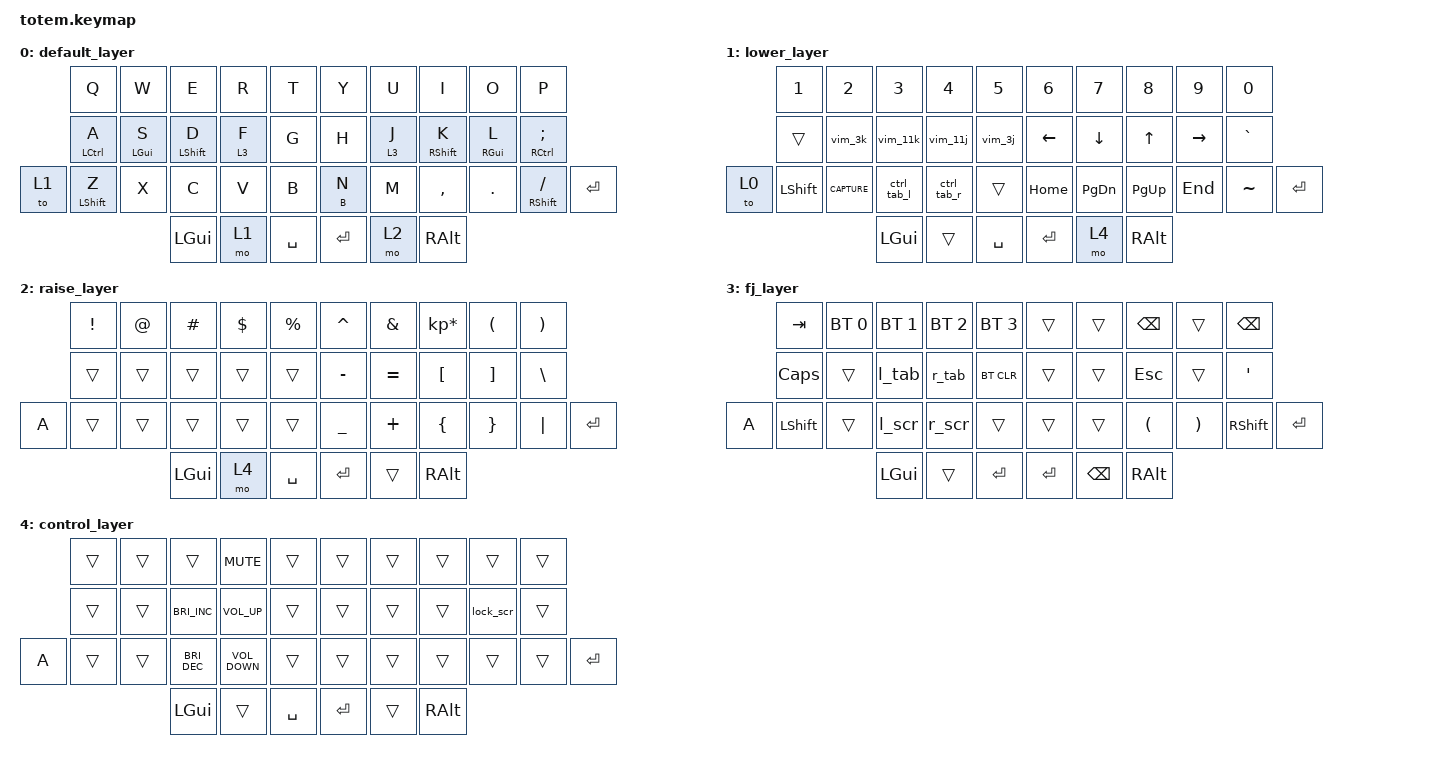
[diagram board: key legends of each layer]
//
//                                                        ▀▀▀▀▀     ▀▀▀▀▀          ▀▀█▀▀
//                                                        ▄▀▀▀▄  ▄  ▄▀▀▀▄  ▄  ▄▀▀▀▄  █  ▄▀▀▀▄
//                                                        █   █  █  █   █  █  █   █  █  █   █
//                                                         ▀▀▀   █   ▀▀▀   █   ▀▀▀   ▀   ▀▀▀
//                                                               █      ▄▄▄█▄▄▄    █   █  
//                                                               ▀      █  █  █     █▄█
//                                                             ▀▀▀▀▀    █  █  █      ▀
//                                                                      ▀  ▀  ▀
//
// ▄▄▄▄▄▄▄▄▄▄▄▄▄▄▄▄▄▄▄▄▄▄▄▄▄▄▄▄▄▄▄▄▄▄▄▄▄▄▄▄▄▄▄▄▄▄▄▄▄▄▄▄▄▄▄▄▄▄▄▄▄▄▄▄▄▄▄▄▄▄▄▄▄▄▄▄▄▄▄▄▄▄▄▄▄▄▄▄▄▄▄▄▄▄▄▄▄▄▄▄▄▄▄▄▄▄▄▄▄▄▄▄▄▄▄▄▄▄▄▄▄▄▄▄▄▄▄▄▄▄▄▄▄▄▄▄▄▄▄▄▄▄▄▄▄▄▄▄▄

#include <behaviors.dtsi>
#include <dt-bindings/zmk/bt.h>
#include <dt-bindings/zmk/keys.h>

&mt { flavor = "tap-preferred"; };

/ {
    macros {
        CAPTURE: CAPTURE {
            compatible = "zmk,behavior-macro";
            #binding-cells = <0>;
            bindings =
                <&macro_press>,
                <&kp LCTRL &kp LGUI &kp LSHFT>,
                <&macro_tap>,
                <&kp N4>,
                <&macro_release>,
                <&kp LCTRL &kp LGUI &kp LSHFT>;
        };

        vim_11j: vim_11j {
            compatible = "zmk,behavior-macro";
            #binding-cells = <0>;
            bindings = <&macro_tap>, <&kp N1 &kp N1 &kp J>;
        };

        vim_11k: vim_11k {
            compatible = "zmk,behavior-macro";
            #binding-cells = <0>;
            bindings = <&macro_tap>, <&kp N1 &kp N1 &kp K>;
        };

        vim_3j: vim_3j {
            compatible = "zmk,behavior-macro";
            #binding-cells = <0>;
            bindings = <&macro_tap>, <&kp N3 &kp J>;
        };

        vim_3k: vim_3k {
            compatible = "zmk,behavior-macro";
            #binding-cells = <0>;
            bindings = <&macro_tap>, <&kp N3 &kp K>;
        };

        ctrl_tab_l: ctrl_tab_l {
            compatible = "zmk,behavior-macro";
            #binding-cells = <0>;
            bindings =
                <&macro_press>,
                <&kp LSHFT &kp LCTRL>,
                <&macro_tap>,
                <&kp TAB>,
                <&macro_release>,
                <&kp LSHFT &kp LCTRL>;
        };

        ctrl_tab_r: ctrl_tab_r {
            compatible = "zmk,behavior-macro";
            #binding-cells = <0>;
            bindings =
                <&macro_press>,
                <&kp LCTRL>,
                <&macro_tap>,
                <&kp TAB>,
                <&macro_release>,
                <&kp LCTRL>;
        };

        lock_scr: lock_scr {
            compatible = "zmk,behavior-macro";
            #binding-cells = <0>;
            bindings =
                <&macro_press>,
                <&kp LCTRL &kp LGUI>,
                <&macro_tap>,
                <&kp Q>,
                <&macro_release>,
                <&kp LCTRL &kp LGUI>;
        };

        l_tab: l_tab {
            compatible = "zmk,behavior-macro";
            #binding-cells = <0>;
            bindings =
                <&macro_press>,
                <&kp LSHFT &kp LGUI>,
                <&macro_tap>,
                <&kp LBKT>,
                <&macro_release>,
                <&kp LSHFT &kp LGUI>;
        };

        r_tab: r_tab {
            compatible = "zmk,behavior-macro";
            #binding-cells = <0>;
            bindings =
                <&macro_press>,
                <&kp LSHFT &kp LGUI>,
                <&macro_tap>,
                <&kp RBKT>,
                <&macro_release>,
                <&kp LSHFT &kp LGUI>;
        };

        l_scr: l_scr {
            compatible = "zmk,behavior-macro";
            #binding-cells = <0>;
            bindings =
                <&macro_press>,
                <&kp LCTRL>,
                <&macro_tap>,
                <&kp LEFT>,
                <&macro_release>,
                <&kp LCTRL>;
        };

        r_scr: r_scr {
            compatible = "zmk,behavior-macro";
            #binding-cells = <0>;
            bindings =
                <&macro_press>,
                <&kp LCTRL>,
                <&macro_tap>,
                <&kp RIGHT>,
                <&macro_release>,
                <&kp LCTRL>;
        };
    };

    keymap {
        compatible = "zmk,keymap";

        default_layer {
            // -----------------------------------------------------------------------------------------
            // |  Q         |  W  |  E         |  R      |  T  |   |  Y       |  U      |  I         |  O  |  P           |
            // | &mt CTRL A |  S  | &mt SHFT D | &lt 3 F |  G  |   |  H       | &lt 3 J | &mt SHFT K |  L  |  ;           |
            // | &mt SHFT Z |  X  |  C         |  V      |  B  |   | &mt B N  | &mt M M      |  ,         |  .  | &mt RSHFT /  |
            //                    | GUI        | LWR     | SPC |   |  ENT     | RSE     | ALT        |

            bindings = <
       &kp Q        &kp W           &kp E        &kp R    &kp T        &kp Y    &kp U    &kp I        &kp O       &kp P
       &mt LCTRL A  &mt LEFT_GUI S  &mt LSHFT D  &lt 3 F  &kp G        &kp H    &lt 3 J  &mt RSHFT K  &mt RGUI L  &mt RCTRL SEMI
&to 1  &mt LSHFT Z  &kp X           &kp C        &kp V    &kp B        &mt B N  &kp M    &kp COMMA    &kp DOT     &mt RSHFT FSLH  &kp RET
                                    &kp LGUI     &mo 1    &kp SPACE    &kp RET  &mo 2    &kp RALT
            >;
        };

        lower_layer {
            // -----------------------------------------------------------------------------------------
            // |  1   |  2      |  3          |  4          |  5  |   |  6   |  7        |  8      |  9  |  0  |
            // |      |  3k     | &11k        | &11j        |  3j |   | LFT  | DWN       |  UP     | RGT |  `  |
            // | SHFT | CAPTURE | &ctrl_tab_l | &ctrl_tab_r |     |   | HOME | PAGE_DOWN | PAGE_UP | END |  ~  |
            //                  |    GUI      |             | SPC |   | ENT  | &mo 4     | ALT     |

            bindings = <
       &kp N1     &kp N2    &kp N3       &kp N4       &kp N5       &kp N6    &kp N7         &kp N8       &kp N9     &kp N0
       &trans     &vim_3k   &vim_11k     &vim_11j     &vim_3j      &kp LEFT  &kp DOWN       &kp UP       &kp RIGHT  &kp GRAVE
&to 0  &kp LSHFT  &CAPTURE  &ctrl_tab_l  &ctrl_tab_r  &trans       &kp HOME  &kp PAGE_DOWN  &kp PAGE_UP  &kp END    &kp TILDE  &kp RET
                            &kp LGUI     &trans       &kp SPACE    &kp RET   &mo 4          &kp RALT
            >;
        };

        raise_layer {
            // -----------------------------------------------------------------------------------------
            // |  !  |  @  |  #     |  $     |  %  |   |  ^  |  &  |  *  |  (  |  )  |
            // |     |     | &l_tab | &r_tab |     |   |  -  |  =  |  [  |  ]  |  \  |
            // |     |     | &l_scr | &r_scr |     |   |  _  |  +  |  {  |  }  | "|" |
            //             | GUI    | &mo 4  | SPC |   | ENT |     | ALT |

            bindings = <
       &kp EXCL  &kp AT  &kp HASH  &kp DLLR  &kp PRCNT    &kp CARET  &kp AMPS   &kp KP_MULTIPLY  &kp LPAR  &kp RPAR
       &trans    &trans  &trans    &trans    &trans       &kp MINUS  &kp EQUAL  &kp LBKT         &kp RBKT  &kp BSLH
&kp A  &trans    &trans  &trans    &trans    &trans       &kp UNDER  &kp PLUS   &kp LBRC         &kp RBRC  &kp PIPE  &kp RET
                         &kp LGUI  &mo 4     &kp SPACE    &kp RET    &trans     &kp RALT
            >;
        };

        fj_layer {
            // -----------------------------------------------------------------------------------------
            // | TAB      | BT1 | BT2 | BT3 | BT4    |   |           |      |  BKSP |     |  BKSP   |
            // | CAPSLOCK |     |     |     | BT_CLR |   |           |      |  ESC  |     |  '      |
            // | LSHFT    |     |     |     |        |   |           |      |   (   |  )  |  RSHFT  |
            //                  | GUI |     | SPC    |   | ENT       | BKSP |  ALT  |

            bindings = <
       &kp TAB       &bt BT_SEL 0  &bt BT_SEL 1  &bt BT_SEL 2  &bt BT_SEL 3    &trans   &trans    &kp BSPC  &trans    &kp BSPC
       &kp CAPSLOCK  &trans        &l_tab        &r_tab        &bt BT_CLR      &trans   &trans    &kp ESC   &trans    &kp SQT
&kp A  &kp LSHFT     &trans        &l_scr        &r_scr        &trans          &trans   &trans    &kp LPAR  &kp RPAR  &kp RSHFT  &kp RET
                                   &kp LGUI      &trans        &kp RET         &kp RET  &kp BSPC  &kp RALT
            >;
        };

        control_layer {
            // -----------------------------------------------------------------------------------------
            // |    |     |     |         | MUTE     |      |           |     |       |       |           |      |
            // |    |     |     | BRI_INC | VOL_UP   |      |           |     |       |       | &lock_scr |      |
            // |    |     |     | BRI_DEC | VOL_DOWN |      |           |     |       |       |           |      |
            //                  | GUI     |          | SPC  |           | ENT |       |  ALT  |

            bindings = <
       &trans  &trans  &trans                &kp C_MUTE         &trans       &trans   &trans  &trans    &trans     &trans
       &trans  &trans  &kp C_BRIGHTNESS_INC  &kp C_VOLUME_UP    &trans       &trans   &trans  &trans    &lock_scr  &trans
&kp A  &trans  &trans  &kp C_BRIGHTNESS_DEC  &kp C_VOLUME_DOWN  &trans       &trans   &trans  &trans    &trans     &trans  &kp RET
                       &kp LGUI              &trans             &kp SPACE    &kp RET  &trans  &kp RALT
            >;
        };
    };
};
